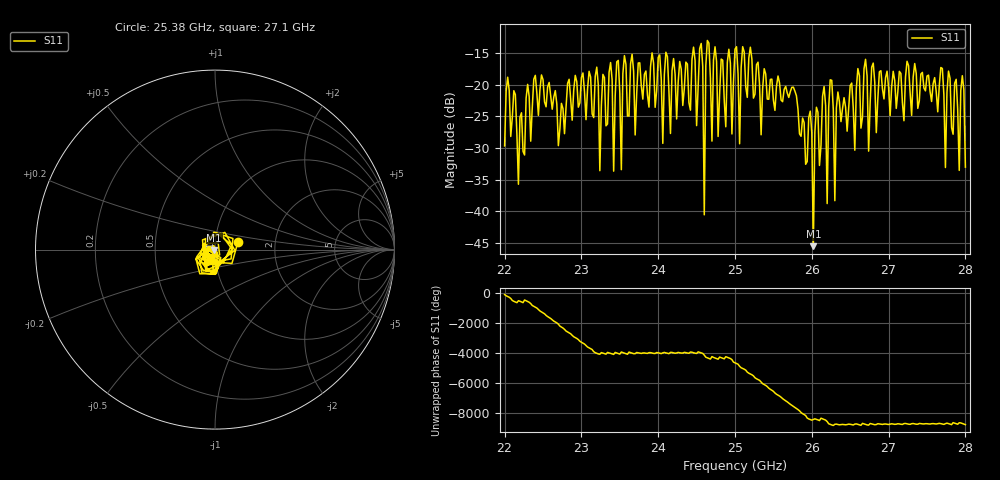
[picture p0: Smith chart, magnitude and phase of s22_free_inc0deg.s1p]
#  HZ  S  RI  R  50.00
! Rohde & Schwarz ZVA40 4Ports - Version 3.90 - 1145.1110k42 SN: 100403
! Date: 2023-10-04 08:09:15
! Measurement: S22
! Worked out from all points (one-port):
!   301 points, 22 GHz to 28 GHz, reference 50 ohm
!   lowest |S11| = -45.5 dB at 26.02 GHz (marker M1), VSWR 1.01, Z = 49.5 - j0.264 ohm
!   |S11| at or under -10 dB: start of sweep to end of sweep
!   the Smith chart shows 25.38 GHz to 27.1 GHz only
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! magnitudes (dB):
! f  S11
! 22 GHz  -29.7
! 22.76 GHz  -23.8
! 23.5 GHz  -21.2
! 24.26 GHz  -19.6
! 24.56 GHz  -13.5
! 24.6 GHz  -40.6
! 24.64 GHz  -13.0
! 24.7 GHz  -28.9
! 25 GHz  -14.4
! 25.06 GHz  -29.3
! 25.1 GHz  -14.0
! 25.76 GHz  -20.4
! 25.98 GHz  -24.2
! 26.02 GHz  -45.5
! 26.06 GHz  -23.5
! 26.16 GHz  -20.3
! 26.2 GHz  -38.8
! 26.26 GHz  -19.3
! 26.3 GHz  -38.3
! 26.34 GHz  -21.1
! 26.5 GHz  -20.1
! 27.26 GHz  -17.0
! 27.7 GHz  -17.4
! 27.74 GHz  -33.1
! 27.88 GHz  -19.1
! 27.92 GHz  -33.5
! 27.96 GHz  -18.6
! 28 GHz  -33.0
